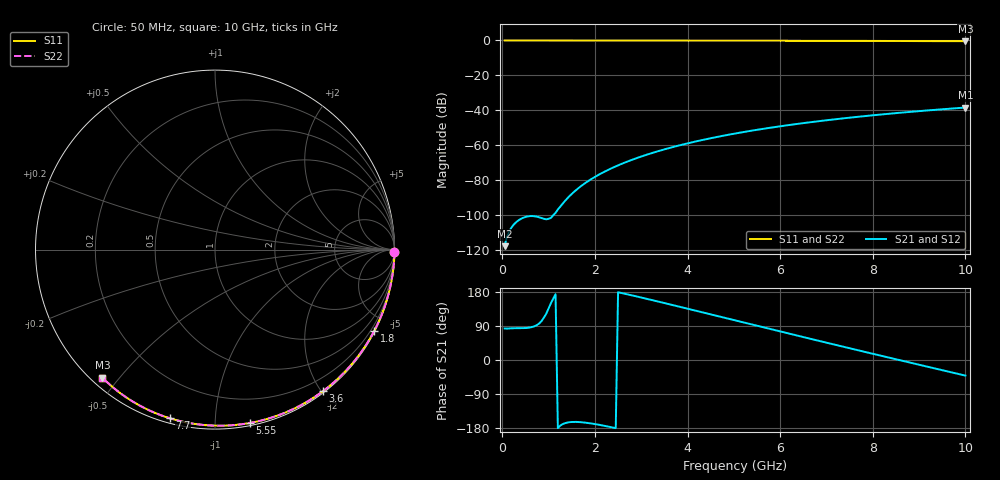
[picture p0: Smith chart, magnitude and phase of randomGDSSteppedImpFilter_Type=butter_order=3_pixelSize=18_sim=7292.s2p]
! freq	dB(S11)	phase(S11)	dB(S12)	phase(S12)
!  dB(S21)	phase(S21)	dB(S22)	phase(S22)
!S-par simulation data
#  GHz  S  DB  R 50
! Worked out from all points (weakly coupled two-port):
!   200 points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, 50 MHz to 10 GHz, reference 50 ohm
!   highest |S21| = -38.39 dB at 10 GHz (marker M1); lowest = -117.7 dB at 50 MHz (marker M2)
!   lowest |S11| = -0.4 dB at 10 GHz (marker M3), VSWR 39.08, Z = 1.54 - j22.6 ohm
!   |S11| at or under -10 dB: nowhere
!   |S22| runs from -0.4 to 0.0 dB; largest |S21 - S12| = 0
!   S11 on the Smith chart (normalised r, x): 50 MHz: open; 1.8 GHz: 0.04, -4.18; 3.6 GHz: 0.02, -2.02; 5.55 GHz: 0.02, -1.22; 7.7 GHz: 0.02, -0.77; 10 GHz: 0.03, -0.45
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0.05  -0.00 -0.8  -117.70 83.2  -117.70 83.2  -0.00 -0.8
0.9  -0.02 -13.6  -102.06 112.2  -102.06 112.2  -0.02 -13.6
1.75  -0.03 -26.2  -82.35 -164.7  -82.35 -164.7  -0.03 -26.2
1.8  -0.03 -26.9  -81.42 -165.4  -81.42 -165.4  -0.03 -26.9
1.85  -0.04 -27.6  -80.53 -166.2  -80.53 -166.2  -0.04 -27.6
1.9  -0.04 -28.4  -79.68 -167.1  -79.68 -167.1  -0.04 -28.4
2.05  -0.04 -30.6  -77.30 -170.1  -77.30 -170.1  -0.04 -30.6
2.25  -0.04 -33.5  -74.51 -174.8  -74.51 -174.8  -0.04 -33.5
2.45  -0.05 -36.4  -72.03 -179.9  -72.03 -179.9  -0.05 -36.4
2.65  -0.05 -39.2  -69.81 174.8  -69.81 174.8  -0.05 -39.2
3  -0.06 -44.2  -66.41 164.9  -66.41 164.9  -0.06 -44.2
3.4  -0.07 -49.8  -63.07 153.3  -63.07 153.3  -0.07 -49.8
3.6  -0.07 -52.6  -61.58 147.4  -61.58 147.4  -0.07 -52.6
4.3  -0.09 -62.2  -57.07 126.4  -57.07 126.4  -0.09 -62.2
5.05  -0.11 -72.1  -53.14 103.9  -53.14 103.9  -0.11 -72.1
5.55  -0.13 -78.6  -50.91 88.9  -50.91 88.9  -0.13 -78.6
6.1  -0.15 -85.6  -48.73 72.4  -48.73 72.4  -0.15 -85.6
6.7  -0.18 -93.0  -46.62 54.6  -46.62 54.6  -0.18 -93.0
7.7  -0.24 -105.0  -43.62 25.1  -43.62 25.1  -0.24 -105.0
8.35  -0.29 -112.6  -41.94 6.2  -41.94 6.2  -0.29 -112.6
9.15  -0.36 -121.7  -40.10 -16.8  -40.10 -16.8  -0.36 -121.7
10  -0.44 -131.3  -38.39 -41.2  -38.39 -41.2  -0.44 -131.3
